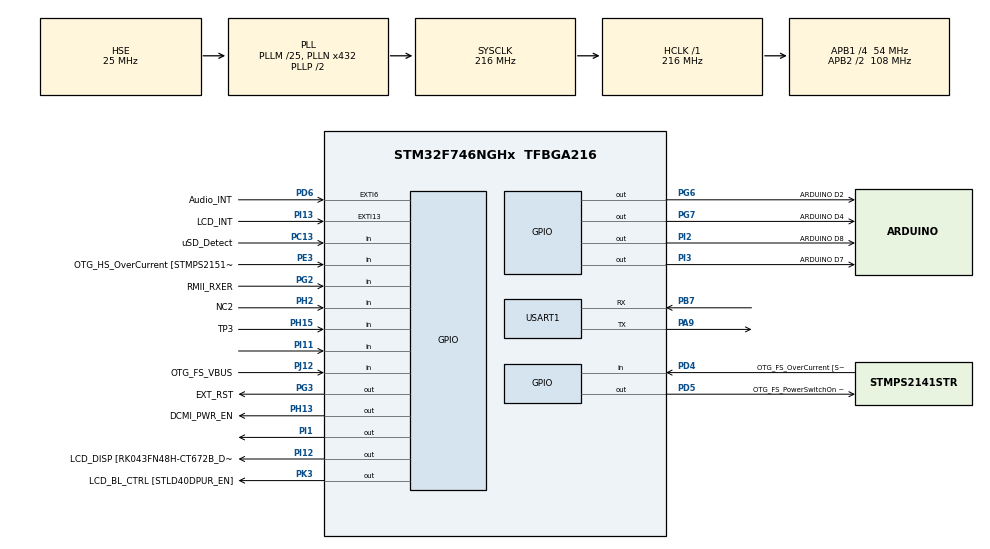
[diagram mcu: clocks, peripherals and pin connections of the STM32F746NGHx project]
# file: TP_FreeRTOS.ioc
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FREERTOS.Tasks01=defaultTask,0,128,StartDefaultTask,Default,NULL,Dynamic,NULL,NULL
Mcu.Family=STM32F7
Mcu.Name=STM32F746NGHx
Mcu.Package=TFBGA216
NVIC.PriorityGroup=NVIC_PRIORITYGROUP_4
PA1.GPIO_Label=RMII_REF_CLK [LAN8742A-CZ-TR_REFCLK0]
PA1.Signal=ETH_REF_CLK
PA10.GPIO_Label=OTG_FS_ID
PA10.Signal=USB_OTG_FS_ID
PA11.GPIO_Label=OTG_FS_N
PA11.Signal=USB_OTG_FS_DM
PA12.GPIO_Label=OTG_FS_P
PA12.Signal=USB_OTG_FS_DP
PA13.GPIO_Label=SWDIO
PA13.Mode=Trace_Asynchronous_SW
PA13.Signal=SYS_JTMS-SWDIO
PA14.GPIO_Label=SWCLK
PA14.Mode=Trace_Asynchronous_SW
PA14.Signal=SYS_JTCK-SWCLK
PA15.GPIO_Label=ARDUINO PWM/D9
PA15.GPIO_ModeDefaultPP=GPIO_MODE_AF_PP
PA15.GPIO_PuPd=GPIO_NOPULL
PA15.GPIO_Speed=GPIO_SPEED_FREQ_LOW
PA15.Signal=S_TIM2_CH1_ETR
PA2.Signal=USART2_TX
PA3.Signal=USART2_RX
PA4.GPIO_Label=DCMI_HSYNC
PA4.Signal=DCMI_HSYNC
PA5.GPIO_Label=ULPI_CLK [USB3320C-EZK_CLKOUT]
PA5.Signal=USB_OTG_HS_ULPI_CK
PA6.Signal=DCMI_PIXCLK
PA7.GPIO_Label=RMII_CRS_DV [LAN8742A-CZ-TR_CRS_DV]
PA7.Signal=ETH_CRS_DV
PA8.GPIO_Label=ARDUINO PWM/D10
PA8.GPIO_ModeDefaultPP=GPIO_MODE_AF_PP
PA8.GPIO_PuPd=GPIO_NOPULL
PA8.GPIO_Speed=GPIO_SPEED_FREQ_LOW
PA8.Signal=S_TIM1_CH1
PA9.Mode=Asynchronous
PA9.Signal=USART1_TX
PB0.GPIO_Label=ULPI_D1 [USB3320C-EZK_D1]
PB0.Signal=USB_OTG_HS_ULPI_D1
PB1.GPIO_Label=ULPI_D2 [USB3320C-EZK_D2]
PB1.Signal=USB_OTG_HS_ULPI_D2
PB10.GPIO_Label=ULPI_D3 [USB3320C-EZK_D3]
PB10.Signal=USB_OTG_HS_ULPI_D3
PB11.GPIO_Label=ULPI_D4 [USB3320C-EZK_D4]
PB11.Signal=USB_OTG_HS_ULPI_D4
PB12.GPIO_Label=ULPI_D5 [USB3320C-EZK_D5]
PB12.Signal=USB_OTG_HS_ULPI_D5
PB13.GPIO_Label=ULPI_D6 [USB3320C-EZK_D6]
PB13.Signal=USB_OTG_HS_ULPI_D6
PB14.GPIO_Label=ARDUINO MISO/D12
PB14.GPIO_Mode=GPIO_MODE_AF_PP
PB14.GPIO_PuPd=GPIO_NOPULL
PB14.GPIO_Speed=GPIO_SPEED_FREQ_LOW
PB14.Signal=SPI2_MISO
PB15.GPIO_Label=ARDUINO MOSI/PWM/D11
PB15.GPIO_Mode=GPIO_MODE_AF_PP
PB15.GPIO_PuPd=GPIO_NOPULL
PB15.GPIO_Speed=GPIO_SPEED_FREQ_LOW
PB15.Signal=SPI2_MOSI
PB2.Signal=QUADSPI_CLK
PB3.GPIO_Label=SWO
PB3.Mode=Trace_Asynchronous_SW
PB3.Signal=SYS_JTDO-SWO
PB4.GPIO_Label=ARDUINO PWM/D3
PB4.GPIO_ModeDefaultPP=GPIO_MODE_AF_PP
PB4.GPIO_PuPd=GPIO_NOPULL
PB4.GPIO_Speed=GPIO_SPEED_FREQ_LOW
PB4.Signal=S_TIM3_CH1
PB5.GPIO_Label=ULPI_D7 [USB3320C-EZK_D7]
PB5.Signal=USB_OTG_HS_ULPI_D7
PB6.GPIO_Label=QSPI_NCS [N25Q128A13EF840E_S]
PB6.Signal=QUADSPI_BK1_NCS
PB7.Mode=Asynchronous
PB7.Signal=USART1_RX
PB8.GPIO_Label=ARDUINO SCL/D15
PB8.GPIO_Mode=GPIO_MODE_AF_OD
PB8.GPIO_PuPd=GPIO_NOPULL
PB8.GPIO_Speed=GPIO_SPEED_FREQ_LOW
PB8.Signal=I2C1_SCL
PB9.GPIO_Label=ARDUINO SDA/D14
PB9.GPIO_Mode=GPIO_MODE_AF_OD
PB9.GPIO_PuPd=GPIO_NOPULL
PB9.GPIO_Speed=GPIO_SPEED_FREQ_LOW
PB9.Signal=I2C1_SDA
PC0.GPIO_Label=ULPI_STP [USB3320C-EZK_STP]
PC0.Signal=USB_OTG_HS_ULPI_STP
PC1.GPIO_Label=RMII_MDC [LAN8742A-CZ-TR_MDC]
PC1.Signal=ETH_MDC
PC10.GPIO_Label=SDMMC_D2
PC10.Signal=SDMMC1_D2
PC11.GPIO_Label=SDMMC_D3
PC11.Signal=SDMMC1_D3
PC12.GPIO_Label=SDMMC_CK
PC12.Signal=SDMMC1_CK
PC13.GPIO_Label=uSD_Detect
PC13.Signal=GPIO_Input
PC14/OSC32_IN.GPIO_Label=RCC_OSC32_IN
PC14/OSC32_IN.Signal=RCC_OSC32_IN
PC15/OSC32_OUT.GPIO_Label=RCC_OSC32_OUT
PC15/OSC32_OUT.Signal=RCC_OSC32_OUT
PC2.GPIO_Label=ULPI_DIR [USB3320C-EZK_DIR]
PC2.Signal=USB_OTG_HS_ULPI_DIR
PC3.GPIO_Label=FMC_SDCKE0 [MT48LC4M32B2B5-6A_CKE]
PC3.Signal=FMC_SDCKE0
PC4.GPIO_Label=RMII_RXD0 [LAN8742A-CZ-TR_RXD0]
PC4.Signal=ETH_RXD0
PC5.GPIO_Label=RMII_RXD1 [LAN8742A-CZ-TR_RXD1]
PC5.Signal=ETH_RXD1
PC6.GPIO_Label=ARDUINO TX/D1
PC6.Signal=USART6_TX
PC7.GPIO_Label=ARDUINO RX/D0
PC7.Signal=USART6_RX
PC8.Signal=SDMMC1_D0
PC9.Signal=SDMMC1_D1
PD0.GPIO_Label=FMC_D2 [MT48LC4M32B2B5-6A_DQ2]
PD0.Signal=FMC_D2_DA2
PD1.GPIO_Label=FMC_D3 [MT48LC4M32B2B5-6A_DQ3]
PD1.Signal=FMC_D3_DA3
PD10.GPIO_Label=FMC_D15 [MT48LC4M32B2B5-6A_DQ15]
PD10.Signal=FMC_D15_DA15
PD11.GPIO_Label=QSPI_D0 [N25Q128A13EF840E_DQ0]
PD11.Signal=QUADSPI_BK1_IO0
PD12.GPIO_Label=QSPI_D1 [N25Q128A13EF840E_DQ1]
PD12.Signal=QUADSPI_BK1_IO1
PD13.GPIO_Label=QSPI_D3 [N25Q128A13EF840E_DQ3]
PD13.Signal=QUADSPI_BK1_IO3
PD14.GPIO_Label=FMC_D0 [MT48LC4M32B2B5-6A_DQ0]
PD14.Signal=FMC_D0_DA0
PD15.GPIO_Label=FMC_D1 [MT48LC4M32B2B5-6A_DQ1]
PD15.Signal=FMC_D1_DA1
PD2.GPIO_Label=SDMMC_D0
PD2.Signal=SDMMC1_CMD
PD3.GPIO_Label=DCMI_D5
PD3.Signal=DCMI_D5
PD4.GPIO_Label=OTG_FS_OverCurrent [STMPS2141STR_Fault]
PD4.Signal=GPIO_Input
PD5.GPIO_Label=OTG_FS_PowerSwitchOn [STMPS2141STR_EN]
PD5.PinState=GPIO_PIN_SET
PD5.Signal=GPIO_Output
PD6.GPIO_Label=Audio_INT
PD6.GPIO_ModeDefaultEXTI=GPIO_MODE_EVT_RISING
PD6.Signal=GPXTI6
PD7.GPIO_Label=SPDIF_RX0 [74LVC1G04SE_4]
PD7.Signal=SPDIFRX_IN0
PD8.GPIO_Label=FMC_D13 [MT48LC4M32B2B5-6A_DQ13]
PD8.Signal=FMC_D13_DA13
PD9.GPIO_Label=FMC_D14 [MT48LC4M32B2B5-6A_DQ14]
PD9.Signal=FMC_D14_DA14
PE0.GPIO_Label=FMC_NBL0 [MT48LC4M32B2B5-6A_DQM0]
PE0.Signal=FMC_NBL0
PE1.GPIO_Label=FMC_NBL1 [MT48LC4M32B2B5-6A_DQM1]
PE1.Signal=FMC_NBL1
PE10.GPIO_Label=FMC_D7 [MT48LC4M32B2B5-6A_DQ7]
PE10.Signal=FMC_D7_DA7
PE11.GPIO_Label=FMC_D8 [MT48LC4M32B2B5-6A_DQ8]
PE11.Signal=FMC_D8_DA8
PE12.GPIO_Label=FMC_D9 [MT48LC4M32B2B5-6A_DQ9]
PE12.Signal=FMC_D9_DA9
PE13.GPIO_Label=FMC_D10 [MT48LC4M32B2B5-6A_DQ10]
PE13.Signal=FMC_D10_DA10
PE14.GPIO_Label=FMC_D11 [MT48LC4M32B2B5-6A_DQ11]
PE14.Signal=FMC_D11_DA11
PE15.GPIO_Label=FMC_D12 [MT48LC4M32B2B5-6A_DQ12]
PE15.Signal=FMC_D12_DA12
PE2.GPIO_Label=QSPI_D2 [N25Q128A13EF840E_DQ2]
PE2.Signal=QUADSPI_BK1_IO2
PE3.GPIO_Label=OTG_HS_OverCurrent [STMPS2151STR_FAULT]
PE3.Signal=GPIO_Input
PE4.GPIO_Label=LCD_B0 [RK043FN48H-CT672B_B0]
PE4.Signal=LTDC_B0
PE5.GPIO_Label=DCMI_D6
PE5.Signal=DCMI_D6
PE6.GPIO_Label=DCMI_D7
PE6.Signal=DCMI_D7
PE7.GPIO_Label=FMC_D4 [MT48LC4M32B2B5-6A_DQ4]
PE7.Signal=FMC_D4_DA4
PE8.GPIO_Label=FMC_D5 [MT48LC4M32B2B5-6A_DQ5]
PE8.Signal=FMC_D5_DA5
PE9.GPIO_Label=FMC_D6 [MT48LC4M32B2B5-6A_DQ6]
PE9.Signal=FMC_D6_DA6
PF0.GPIO_Label=FMC_A0 [MT48LC4M32B2B5-6A_A0]
PF0.Signal=FMC_A0
PF1.GPIO_Label=FMC_A1 [MT48LC4M32B2B5-6A_A1]
PF1.Signal=FMC_A1
PF10.GPIO_Label=ARDUINO A1
PF10.GPIO_Mode=GPIO_MODE_ANALOG
PF10.GPIO_PuPd=GPIO_NOPULL
PF10.Signal=ADC3_IN8
PF11.GPIO_Label=FMC_SDNRAS [MT48LC4M32B2B5-6A_RAS]
PF11.Signal=FMC_SDNRAS
PF12.GPIO_Label=FMC_A6 [MT48LC4M32B2B5-6A_A6]
PF12.Signal=FMC_A6
PF13.GPIO_Label=FMC_A7 [MT48LC4M32B2B5-6A_A7]
PF13.Signal=FMC_A7
PF14.GPIO_Label=FMC_A8 [MT48LC4M32B2B5-6A_A8]
PF14.Signal=FMC_A8
PF15.GPIO_Label=FMC_A9 [MT48LC4M32B2B5-6A_A9]
PF15.Signal=FMC_A9
PF2.GPIO_Label=FMC_A2 [MT48LC4M32B2B5-6A_A2]
PF2.Signal=FMC_A2
PF3.GPIO_Label=FMC_A3 [MT48LC4M32B2B5-6A_A3]
PF3.Signal=FMC_A3
PF4.GPIO_Label=FMC_A4 [MT48LC4M32B2B5-6A_A4]
PF4.Signal=FMC_A4
PF5.GPIO_Label=FMC_A5 [MT48LC4M32B2B5-6A_A5]
PF5.Signal=FMC_A5
PF6.GPIO_Label=ARDUINO A5
PF6.GPIO_Mode=GPIO_MODE_ANALOG
PF6.GPIO_PuPd=GPIO_NOPULL
PF6.Signal=ADC3_IN4
PF7.GPIO_Label=ARDUINO A4
PF7.GPIO_Mode=GPIO_MODE_ANALOG
PF7.GPIO_PuPd=GPIO_NOPULL
PF7.Signal=ADC3_IN5
PF8.GPIO_Label=ARDUINO A3
PF8.GPIO_Mode=GPIO_MODE_ANALOG
PF8.GPIO_PuPd=GPIO_NOPULL
PF8.Signal=ADC3_IN6
PF9.GPIO_Label=ARDUINO A2
PF9.GPIO_Mode=GPIO_MODE_ANALOG
PF9.GPIO_PuPd=GPIO_NOPULL
PF9.Signal=ADC3_IN7
PG0.GPIO_Label=FMC_A10 [MT48LC4M32B2B5-6A_A10]
PG0.Signal=FMC_A10
PG1.GPIO_Label=FMC_A11 [MT48LC4M32B2B5-6A_A11]
PG1.Signal=FMC_A11
PG10.GPIO_Label=SAI2_SDB [WM8994ECS/R_ADCDAT1]
PG10.Signal=SAI2_SD_B
PG11.GPIO_Label=RMII_TX_EN [LAN8742A-CZ-TR_TXEN]
PG11.Signal=ETH_TX_EN
PG12.GPIO_Label=LCD_B4 [RK043FN48H-CT672B_B4]
PG12.Signal=LTDC_B4
PG13.GPIO_Label=RMII_TXD0 [LAN8742A-CZ-TR_TXD0]
PG13.Signal=ETH_TXD0
PG14.GPIO_Label=RMII_TXD1 [LAN8742A-CZ-TR_TXD1]
PG14.Signal=ETH_TXD1
PG15.GPIO_Label=FMC_SDNCAS [MT48LC4M32B2B5-6A_CAS]
PG15.Signal=FMC_SDNCAS
PG2.GPIO_Label=RMII_RXER
PG2.Signal=GPIO_Input
PG3.GPIO_Label=EXT_RST
PG3.Signal=GPIO_Output
PG4.GPIO_Label=FMC_BA0 [MT48LC4M32B2B5-6A_BA0]
PG4.Signal=FMC_A14_BA0
PG5.GPIO_Label=FMC_BA1 [MT48LC4M32B2B5-6A_BA1]
PG5.Signal=FMC_A15_BA1
PG6.GPIO_Label=ARDUINO D2
PG6.Signal=GPIO_Output
PG7.GPIO_Label=ARDUINO D4
PG7.Signal=GPIO_Output
PG8.GPIO_Label=FMC_SDCLK [MT48LC4M32B2B5-6A_CLK]
PG8.Signal=FMC_SDCLK
PG9.GPIO_Label=DCMI_VSYNC
PG9.Signal=DCMI_VSYNC
PH0/OSC_IN.GPIO_Label=OSC_25M [NZ2520SB-25.00M_OUT]
PH0/OSC_IN.Mode=HSE-External-Oscillator
PH0/OSC_IN.Signal=RCC_OSC_IN
PH1/OSC_OUT.Mode=HSE-External-Oscillator
PH1/OSC_OUT.Signal=RCC_OSC_OUT
PH10.GPIO_Label=DCMI_D1
PH10.Signal=DCMI_D1
PH11.GPIO_Label=DCMI_D2
PH11.Signal=DCMI_D2
PH12.GPIO_Label=DCMI_D3
PH12.Signal=DCMI_D3
PH13.GPIO_Label=DCMI_PWR_EN
PH13.Signal=GPIO_Output
PH14.GPIO_Label=DCMI_D4
PH14.Signal=DCMI_D4
PH15.GPIO_Label=TP3
PH15.Signal=GPIO_Input
PH2.GPIO_Label=NC2
PH2.Signal=GPIO_Input
PH3.GPIO_Label=FMC_SDNE0 [MT48LC4M32B2B5-6A_CS]
PH3.Signal=FMC_SDNE0
PH4.GPIO_Label=ULPI_NXT [USB3320C-EZK_NXT]
PH4.Signal=USB_OTG_HS_ULPI_NXT
PH5.GPIO_Label=FMC_SDNME [MT48LC4M32B2B5-6A_WE]
PH5.Signal=FMC_SDNWE
PH6.GPIO_Label=ARDUINO PWM/D6
PH6.Signal=S_TIM12_CH1
PH7.GPIO_Label=LCD_SCL [RK043FN48H-CT672B_SCL]
PH7.Signal=I2C3_SCL
PH8.GPIO_Label=LCD_SDA [RK043FN48H-CT672B_SDA]
PH8.Signal=I2C3_SDA
PH9.GPIO_Label=DCMI_D0
PH9.Signal=DCMI_D0
PI0.GPIO_Label=ARDUINO PWM/CS/D5
PI0.GPIO_ModeDefaultPP=GPIO_MODE_AF_PP
PI0.GPIO_PuPd=GPIO_NOPULL
PI0.GPIO_Speed=GPIO_SPEED_FREQ_LOW
PI0.Signal=S_TIM5_CH4
PI1.Signal=GPIO_Output
PI10.GPIO_Label=LCD_HSYNC [RK043FN48H-CT672B_HSYNC]
PI10.Signal=LTDC_HSYNC
PI11.Signal=GPIO_Input
PI12.GPIO_Label=LCD_DISP [RK043FN48H-CT672B_DISP] 
PI12.Signal=GPIO_Output
PI13.GPIO_Label=LCD_INT
PI13.GPIO_ModeDefaultEXTI=GPIO_MODE_EVT_RISING
PI13.Signal=GPXTI13
PI14.GPIO_Label=LCD_CLK [RK043FN48H-CT672B_CLK]
PI14.Signal=LTDC_CLK
PI15.GPIO_Label=LCD_R0 [RK043FN48H-CT672B_R0]
PI15.Signal=LTDC_R0
PI2.GPIO_Label=ARDUINO D8
PI2.Signal=GPIO_Output
PI3.GPIO_Label=ARDUINO D7
PI3.Signal=GPIO_Output
PI4.GPIO_Label=SAI2_MCLKA [WM8994ECS/R_MCLK1]
PI4.Signal=SAI2_MCLK_A
PI5.GPIO_Label=SAI2_SCKA [WM8994ECS/R_BCLK1]
PI5.Signal=SAI2_SCK_A
PI6.GPIO_Label=SAI2_SDA [WM8994ECS/R_DACDAT1]
PI6.Signal=SAI2_SD_A
PI7.GPIO_Label=SAI2_FSA [WM8994ECS/R_LRCLK1]
PI7.Signal=SAI2_FS_A
PI8.GPIO_Label=NC1 [TP2]
PI8.Signal=RTC_TS
PI9.GPIO_Label=LCD_VSYNC [RK043FN48H-CT672B_VSYNC]
PI9.Signal=LTDC_VSYNC
PJ0.GPIO_Label=LCD_R1 [RK043FN48H-CT672B_R1]
PJ0.Signal=LTDC_R1
PJ1.GPIO_Label=LCD_R2 [RK043FN48H-CT672B_R2]
PJ1.Signal=LTDC_R2
PJ10.GPIO_Label=LCD_G3 [RK043FN48H-CT672B_G3]
PJ10.Signal=LTDC_G3
PJ11.GPIO_Label=LCD_G4 [RK043FN48H-CT672B_G4]
PJ11.Signal=LTDC_G4
PJ12.GPIO_Label=OTG_FS_VBUS
PJ12.Signal=GPIO_Input
PJ13.GPIO_Label=LCD_B1 [RK043FN48H-CT672B_B1]
PJ13.Signal=LTDC_B1
PJ14.GPIO_Label=LCD_B2 [RK043FN48H-CT672B_B2]
PJ14.Signal=LTDC_B2
PJ15.GPIO_Label=LCD_B3 [RK043FN48H-CT672B_B3]
PJ15.Signal=LTDC_B3
PJ2.GPIO_Label=LCD_R3 [RK043FN48H-CT672B_R3]
PJ2.Signal=LTDC_R3
PJ3.GPIO_Label=LCD_R4 [RK043FN48H-CT672B_R4]
PJ3.Signal=LTDC_R4
PJ4.GPIO_Label=LCD_R5 [RK043FN48H-CT672B_R5]
PJ4.Signal=LTDC_R5
PJ5.GPIO_Label=LCD_R6 [RK043FN48H-CT672B_R6]
PJ5.Signal=LTDC_R6
PJ6.GPIO_Label=LCD_R7 [RK043FN48H-CT672B_R7]
PJ6.Signal=LTDC_R7
PJ7.GPIO_Label=LCD_G0 [RK043FN48H-CT672B_G0]
PJ7.Signal=LTDC_G0
PJ8.GPIO_Label=LCD_G1 [RK043FN48H-CT672B_G1]
PJ8.Signal=LTDC_G1
PJ9.GPIO_Label=LCD_G2 [RK043FN48H-CT672B_G2]
PJ9.Signal=LTDC_G2
PK0.GPIO_Label=LCD_G5 [RK043FN48H-CT672B_G5]
PK0.Signal=LTDC_G5
PK1.GPIO_Label=LCD_G6 [RK043FN48H-CT672B_G6]
PK1.Signal=LTDC_G6
PK2.GPIO_Label=LCD_G7 [RK043FN48H-CT672B_G7]
PK2.Signal=LTDC_G7
PK3.GPIO_Label=LCD_BL_CTRL [STLD40DPUR_EN]
PK3.Signal=GPIO_Output
PK4.GPIO_Label=LCD_B5 [RK043FN48H-CT672B_B5]
PK4.Signal=LTDC_B5
PK5.GPIO_Label=LCD_B6 [RK043FN48H-CT672B_B6]
PK5.Signal=LTDC_B6
PK6.GPIO_Label=LCD_B7 [RK043FN48H-CT672B_B7]
PK6.Signal=LTDC_B7
PK7.GPIO_Label=LCD_DE [RK043FN48H-CT672B_DE]
PK7.Signal=LTDC_DE
ProjectManager.HeapSize=0x200
ProjectManager.StackSize=0x400
ProjectManager.TargetToolchain=STM32CubeIDE
RCC.AHBFreq_Value=216000000
RCC.APB1CLKDivider=RCC_HCLK_DIV4
RCC.APB1Freq_Value=54000000
RCC.APB1TimFreq_Value=108000000
RCC.APB2CLKDivider=RCC_HCLK_DIV2
RCC.APB2Freq_Value=108000000
RCC.APB2TimFreq_Value=216000000
RCC.CortexFreq_Value=216000000
RCC.HCLKFreq_Value=216000000
RCC.HSE_VALUE=25000000
RCC.HSI_VALUE=16000000
RCC.LSE_VALUE=32768
RCC.PLLM=25
RCC.PLLN=432
RCC.PLLSourceVirtual=RCC_PLLSOURCE_HSE
RCC.SYSCLKFreq_VALUE=216000000
RCC.SYSCLKSource=RCC_SYSCLKSOURCE_PLLCLK
RCC.USBFreq_Value=216000000
RCC.VCOOutputFreq_Value=432000000
SH.FMC_A0.0=FMC_A0
SH.FMC_A1.0=FMC_A1
SH.FMC_A10.0=FMC_A10
SH.FMC_A11.0=FMC_A11
SH.FMC_A14_BA0.0=FMC_BA0
SH.FMC_A15_BA1.0=FMC_BA1
SH.FMC_A2.0=FMC_A2
SH.FMC_A3.0=FMC_A3
SH.FMC_A4.0=FMC_A4
SH.FMC_A5.0=FMC_A5
SH.FMC_A6.0=FMC_A6
SH.FMC_A7.0=FMC_A7
SH.FMC_A8.0=FMC_A8
SH.FMC_A9.0=FMC_A9
SH.FMC_D0_DA0.0=FMC_D0
SH.FMC_D10_DA10.0=FMC_D10
SH.FMC_D11_DA11.0=FMC_D11
SH.FMC_D12_DA12.0=FMC_D12
SH.FMC_D13_DA13.0=FMC_D13
SH.FMC_D14_DA14.0=FMC_D14
SH.FMC_D15_DA15.0=FMC_D15
SH.FMC_D1_DA1.0=FMC_D1
SH.FMC_D2_DA2.0=FMC_D2
SH.FMC_D3_DA3.0=FMC_D3
SH.FMC_D4_DA4.0=FMC_D4
SH.FMC_D5_DA5.0=FMC_D5
SH.FMC_D6_DA6.0=FMC_D6
SH.FMC_D7_DA7.0=FMC_D7
SH.FMC_D8_DA8.0=FMC_D8
SH.FMC_D9_DA9.0=FMC_D9
SH.FMC_NBL0.0=FMC_NBL0
SH.FMC_NBL1.0=FMC_NBL1
SH.FMC_SDCLK.0=FMC_SDCLK
SH.FMC_SDNCAS.0=FMC_SDNCAS
SH.FMC_SDNRAS.0=FMC_SDNRAS
SH.FMC_SDNWE.0=FMC_SDNWE
SH.S_TIM12_CH1.0=TIM12_CH1
SH.S_TIM1_CH1.0=TIM1_CH1
SH.S_TIM2_CH1_ETR.0=TIM2_CH1
SH.S_TIM3_CH1.0=TIM3_CH1
SH.S_TIM5_CH4.0=TIM5_CH4
USART1.VirtualMode-Asynchronous=VM_ASYNC
VP_FREERTOS_VS_CMSIS_V1.Mode=CMSIS_V1
board=STM32F746G-DISCO

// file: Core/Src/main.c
/* USER CODE BEGIN Header */
/**
  ******************************************************************************
  * @file           : main.c
  * @brief          : Main program body
  ******************************************************************************
  * @attention
  *
  * Copyright (c) 2025 STMicroelectronics.
  * All rights reserved.
  *
  * This software is licensed under terms that can be found in the LICENSE file
  * in the root directory of this software component.
  * If no LICENSE file comes with this software, it is provided AS-IS.
  *
  ******************************************************************************
  */
/* USER CODE END Header */
#include "main.h"
#include "cmsis_os.h"
#include "usart.h"
#include "gpio.h"

/* USER CODE BEGIN Includes */
#include <stdio.h>
#include "task.h"
#include "stm32F7xx.h"
/* USER CODE END Includes */

/* USER CODE BEGIN PV */
//extern void StartLedTask(void const * argument);

/* USER CODE END PV */

void SystemClock_Config(void);

void MX_FREERTOS_Init(void);

/* USER CODE BEGIN PFP */
void StartLedTask(void const * argument);

/* USER CODE END PFP */

/* USER CODE BEGIN 0 */
int __io_putchar(int chr)
{
 HAL_UART_Transmit(&huart1, (uint8_t*)&chr, 1, HAL_MAX_DELAY);
 return chr;
}
/* USER CODE END 0 */

int main(void)
{

  /* MCU Configuration--------------------------------------------------------*/

  /* Reset of all peripherals, Initializes the Flash interface and the Systick. */
  HAL_Init();

  /* Configure the system clock */
  SystemClock_Config();

  /* Initialize all configured peripherals */
  MX_GPIO_Init();
  MX_USART1_UART_Init();
  /* USER CODE BEGIN 2 */
  printf("\r\n==== Noyau temps reel ====\r\n");
  HAL_GPIO_WritePin(GPIOI, GPIO_PIN_1, GPIO_PIN_RESET); // LED éteinte au début

  /* USER CODE END 2 */

  /* Call init function for freertos objects (in cmsis_os2.c) */
  MX_FREERTOS_Init();

  /* Start scheduler */
  osKernelStart();

  /* We should never get here as control is now taken by the scheduler */

  /* Infinite loop */
  while (1)
  {

  }
}

void SystemClock_Config(void)
{
  RCC_OscInitTypeDef RCC_OscInitStruct = {0};
  RCC_ClkInitTypeDef RCC_ClkInitStruct = {0};

  /** Configure the main internal regulator output voltage
  */
  __HAL_RCC_PWR_CLK_ENABLE();
  __HAL_PWR_VOLTAGESCALING_CONFIG(PWR_REGULATOR_VOLTAGE_SCALE1);

  /** Initializes the RCC Oscillators according to the specified parameters
  * in the RCC_OscInitTypeDef structure.
  */
  RCC_OscInitStruct.OscillatorType = RCC_OSCILLATORTYPE_HSE;
  RCC_OscInitStruct.HSEState = RCC_HSE_ON;
  RCC_OscInitStruct.PLL.PLLState = RCC_PLL_ON;
  RCC_OscInitStruct.PLL.PLLSource = RCC_PLLSOURCE_HSE;
  RCC_OscInitStruct.PLL.PLLM = 25;
  RCC_OscInitStruct.PLL.PLLN = 432;
  RCC_OscInitStruct.PLL.PLLP = RCC_PLLP_DIV2;
  RCC_OscInitStruct.PLL.PLLQ = 2;
  if (HAL_RCC_OscConfig(&RCC_OscInitStruct) != HAL_OK)
  {
    Error_Handler();
  }

  /** Activate the Over-Drive mode
  */
  if (HAL_PWREx_EnableOverDrive() != HAL_OK)
  {
    Error_Handler();
  }

  /** Initializes the CPU, AHB and APB buses clocks
  */
  RCC_ClkInitStruct.ClockType = RCC_CLOCKTYPE_HCLK|RCC_CLOCKTYPE_SYSCLK
                              |RCC_CLOCKTYPE_PCLK1|RCC_CLOCKTYPE_PCLK2;
  RCC_ClkInitStruct.SYSCLKSource = RCC_SYSCLKSOURCE_PLLCLK;
  RCC_ClkInitStruct.AHBCLKDivider = RCC_SYSCLK_DIV1;
  RCC_ClkInitStruct.APB1CLKDivider = RCC_HCLK_DIV4;
  RCC_ClkInitStruct.APB2CLKDivider = RCC_HCLK_DIV2;

  if (HAL_RCC_ClockConfig(&RCC_ClkInitStruct, FLASH_LATENCY_7) != HAL_OK)
  {
    Error_Handler();
  }
}

void Error_Handler(void)
{
  __disable_irq();
  while (1)
  {
  }
}

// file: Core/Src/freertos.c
/* USER CODE BEGIN Header */
/**
  ******************************************************************************
  * File Name          : freertos.c
  * Description        : Code for freertos applications
  ******************************************************************************
  * @attention
  *
  * Copyright (c) 2025 STMicroelectronics.
  * All rights reserved.
  *
  * This software is licensed under terms that can be found in the LICENSE file
  * in the root directory of this software component.
  * If no LICENSE file comes with this software, it is provided AS-IS.
  *
  ******************************************************************************
  */
/* USER CODE END Header */

#include "FreeRTOS.h"
#include "task.h"
#include "queue.h"
#include "main.h"
#include "usart.h"
#include "gpio.h"
#include "semphr.h"

/* USER CODE BEGIN PD */
#define STACK_SIZE 256
#define TASK1_PRIORITY 1
#define TASK2_PRIORITY 2
#define TASK1_DELAY 1
#define TASK2_DELAY 2
/* USER CODE END PD */

/* USER CODE BEGIN Variables */

/* Déclaration des handles */
TaskHandle_t defaultTaskHandle;
TaskHandle_t taskGiveHandle;
TaskHandle_t taskTakeHandle;
QueueHandle_t myQueueHandle;
BaseType_t ret;
SemaphoreHandle_t printfMutex;

/* USER CODE END Variables */

/* USER CODE BEGIN FunctionPrototypes */
void StartDefaultTask(void *argument);
void StartTaskGive(void *argument);
void StartTaskTake(void *argument);
void task_bug (void *pvParameters);

/* USER CODE END FunctionPrototypes */

void MX_FREERTOS_Init(void); /* (MISRA C 2004 rule 8.1) */

/* GetIdleTaskMemory prototype (linked to static allocation support) */
void vApplicationGetIdleTaskMemory( StaticTask_t **ppxIdleTaskTCBBuffer, StackType_t **ppxIdleTaskStackBuffer, uint32_t *pulIdleTaskStackSize );

/* USER CODE BEGIN GET_IDLE_TASK_MEMORY */
static StaticTask_t xIdleTaskTCBBuffer;
static StackType_t xIdleStack[configMINIMAL_STACK_SIZE];

void vApplicationGetIdleTaskMemory( StaticTask_t **ppxIdleTaskTCBBuffer, StackType_t **ppxIdleTaskStackBuffer, uint32_t *pulIdleTaskStackSize )
{
  *ppxIdleTaskTCBBuffer = &xIdleTaskTCBBuffer;
  *ppxIdleTaskStackBuffer = &xIdleStack[0];
  *pulIdleTaskStackSize = configMINIMAL_STACK_SIZE;
  /* place for user code */
}
/* USER CODE END GET_IDLE_TASK_MEMORY */

void MX_FREERTOS_Init(void) {

  /* USER CODE BEGIN RTOS_MUTEX */
  /* add mutexes, ... */
	  printfMutex = xSemaphoreCreateMutex();
	  if (printfMutex == NULL)
	  {
	    printf("ERREUR: Mutex non créé\r\n");
	    while (1); // Erreur fatale
	  }

  /* USER CODE END RTOS_MUTEX */

  /* USER CODE BEGIN RTOS_QUEUES */
  /* add queues, ... */
  /* Création de la queue (10 éléments de type uint32_t) */
  myQueueHandle = xQueueCreate(10, sizeof(uint32_t));
   if (myQueueHandle == NULL)
	  {
	    printf("ERREUR: Echec creation de la queue !\r\n");
	    while (1); // Erreur fatale
	  }
  /* USER CODE END RTOS_QUEUES */

  /* Create the thread(s) */
  xTaskCreate(StartDefaultTask, "defaultTask", 128, NULL, 2, &defaultTaskHandle);

  ret = xTaskCreate(task_bug, "Tache 1", STACK_SIZE, \
  (void *) TASK1_DELAY, TASK1_PRIORITY, NULL);
  configASSERT(pdPASS == ret);
  ret = xTaskCreate(task_bug, "Tache 2", STACK_SIZE, \
  (void *) TASK2_DELAY, TASK2_PRIORITY, NULL);
  configASSERT(pdPASS == ret);

  /* USER CODE BEGIN RTOS_THREADS */
  /* add threads, ... */
  xTaskCreate(StartTaskGive, "taskGive", 128, NULL, 3, &taskGiveHandle);
  xTaskCreate(StartTaskTake, "taskTake", 128, NULL, 1, &taskTakeHandle);
  /* USER CODE END RTOS_THREADS */

}

void StartDefaultTask(void *argument)
{
  for (int i = 0; i < 5; i++)
  {
    HAL_GPIO_TogglePin(GPIOI, GPIO_PIN_1);

    if (xSemaphoreTake(printfMutex, portMAX_DELAY) == pdPASS)
    {
      printf("LED change d'etat (%d)\r\n", i + 1);
      xSemaphoreGive(printfMutex);
    }

    vTaskDelay(pdMS_TO_TICKS(100));
  }

  vTaskDelete(NULL);
}

/* USER CODE BEGIN Application */

void task_bug(void * pvParameters)
{
    int delay = (int) pvParameters;

    if (xSemaphoreTake(printfMutex, portMAX_DELAY) == pdPASS)
    {
        printf("Je suis %s et je m'endors pour %d ticks\r\n",
               pcTaskGetName(NULL), delay);
        xSemaphoreGive(printfMutex);
    }

    vTaskDelay(delay); // éventuellement tu peux le retirer si inutile

    // Supprimer la tâche après affichage
    vTaskDelete(NULL);
}

/* Tâche qui envoie dans la queue */
void StartTaskGive(void *argument)
{
  uint32_t delay_time = 100;

  if (xSemaphoreTake(printfMutex, portMAX_DELAY) == pdPASS)
  {
    printf("[taskGive] Avant envoi dans la queue.\r\n");
    xSemaphoreGive(printfMutex);
  }

  if (xQueueSend(myQueueHandle, &delay_time, pdMS_TO_TICKS(100)) == pdPASS)
  {
    if (xSemaphoreTake(printfMutex, portMAX_DELAY) == pdPASS)
    {
      printf("[taskGive] Valeur %lu envoyee avec succes.\r\n", delay_time);
      xSemaphoreGive(printfMutex);
    }
  }
  else
  {
    if (xSemaphoreTake(printfMutex, portMAX_DELAY) == pdPASS)
    {
      printf("[taskGive] ERREUR: Envoi dans queue echoue.\r\n");
      xSemaphoreGive(printfMutex);
    }
  }

  vTaskSuspend(NULL);
}

/* Tâche qui reçoit depuis la queue */
void StartTaskTake(void *argument)
{
  uint32_t received_value;

  if (xSemaphoreTake(printfMutex, portMAX_DELAY) == pdPASS)
  {
    printf("[taskTake] En attente d'une valeur dans la queue...\r\n");
    xSemaphoreGive(printfMutex);
  }

  if (xQueueReceive(myQueueHandle, &received_value, pdMS_TO_TICKS(1000)) == pdPASS)
  {
    if (xSemaphoreTake(printfMutex, portMAX_DELAY) == pdPASS)
    {
      printf("[taskTake] Valeur recue: %lu ms\r\n", received_value);
      xSemaphoreGive(printfMutex);
    }
  }
  else
  {
    if (xSemaphoreTake(printfMutex, portMAX_DELAY) == pdPASS)
    {
      printf("[taskTake] Timeout de reception !\r\n");
      xSemaphoreGive(printfMutex);
    }
  }

  vTaskSuspend(NULL);
}

/* USER CODE END Application */
